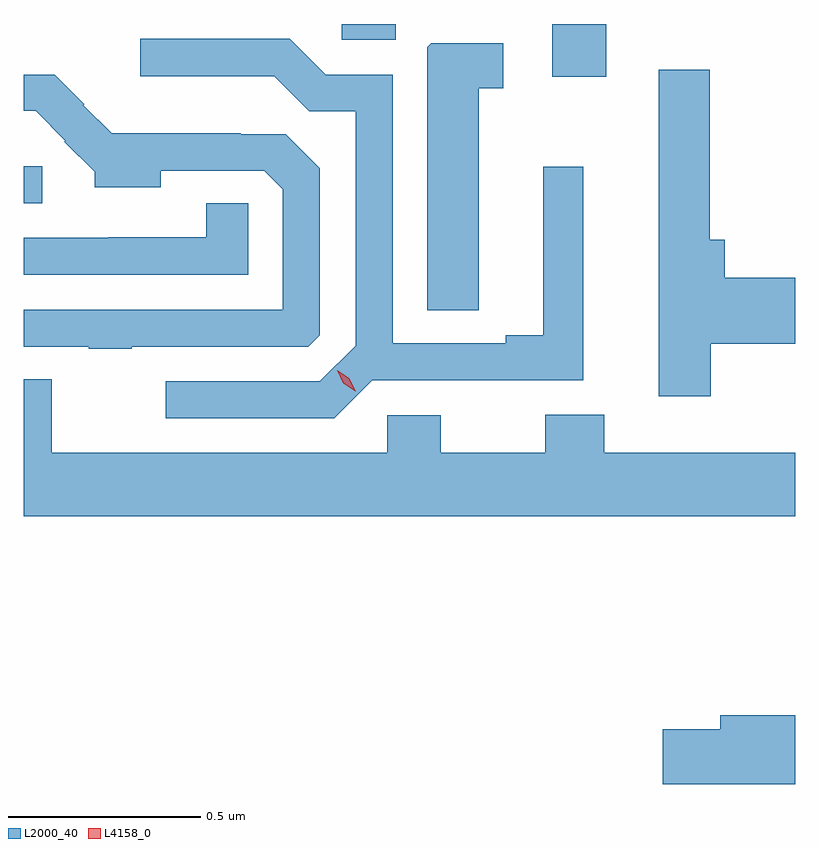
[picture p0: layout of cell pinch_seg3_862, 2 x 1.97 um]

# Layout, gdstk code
import gdstk
lib = gdstk.Library(unit=1e-6, precision=1e-09)
def R(c, l, rs):  # rectangles x0, y0, x1, y1
    for r in rs: c.add(gdstk.rectangle(r[:2], r[2:], *l))
def P(c, l, *ps):  # polygons
    for p in ps: c.add(gdstk.Polygon(p, *l))
L2000_40 = (2000, 40)
L4158_0 = (4158, 0)

pinch_seg3_862 = lib.new_cell('pinch_seg3_862')
R(pinch_seg3_862, L2000_40, [(735.33,709.719,735.378,709.815), (736.7,710.046,736.84,710.183), (736.155,710.142,736.294,710.183)])
P(pinch_seg3_862, L2000_40, [(736.234,709.26),(736.78,709.26),(736.78,709.813),(736.676,709.813),(736.676,709.376),(736.58,709.376),(736.58,709.356),(736.287,709.356),(736.287,710.052),(736.113,710.052),(736.02,710.145),(735.633,710.145),(735.633,710.048),(735.979,710.048),(736.07,709.957),(736.191,709.957),(736.191,709.35),(736.098,709.257),(735.699,709.257),(735.699,709.161),(736.135,709.161)],
  [(736.51,710.017),(736.573,710.017),(736.573,710.133),(736.386,710.133),(736.376,710.123),(736.376,709.441),(736.51,709.441)],
  [(737.111,709.355),(737.329,709.355),(737.329,709.526),(737.147,709.526),(737.147,709.624),(737.108,709.624),(737.108,710.065),(736.976,710.065),(736.976,709.218),(737.111,709.218)],
  [(735.611,709.347),(736.068,709.347),(736.098,709.377),(736.098,709.809),(736.009,709.898),(735.893,709.898),(735.893,709.9),(735.559,709.9),(735.485,709.973),(735.487,709.975),(735.411,710.052),(735.33,710.052),(735.33,709.958),(735.362,709.958),(735.438,709.881),(735.435,709.878),(735.514,709.8),(735.514,709.76),(735.685,709.76),(735.685,709.803),(735.954,709.803),(736.002,709.755),(736.002,709.443),(735.33,709.443),(735.33,709.347),(735.499,709.347),(735.499,709.342),(735.611,709.342)],
  [(735.912,709.718),(735.804,709.718),(735.804,709.63),(735.549,709.63),(735.549,709.629),(735.33,709.629),(735.33,709.533),(735.912,709.533)],
  [(737.33,709.072),(736.835,709.072),(736.835,709.171),(736.682,709.171),(736.682,709.072),(736.411,709.072),(736.411,709.17),(736.272,709.17),(736.272,709.072),(735.403,709.072),(735.403,709.262),(735.33,709.262),(735.33,708.908),(737.33,708.908)],
  [(737.33,708.392),(737.135,708.392),(737.135,708.356),(736.986,708.356),(736.986,708.214),(737.33,708.214)])
P(pinch_seg3_862, L4158_0, [(736.19,709.231),(736.159,709.252),(736.143,709.286),(736.143,709.286),(736.143,709.286),(736.174,709.265),(736.191,709.232),(736.191,709.231)])

lib.write_gds('pinch_seg3_862.gds')
